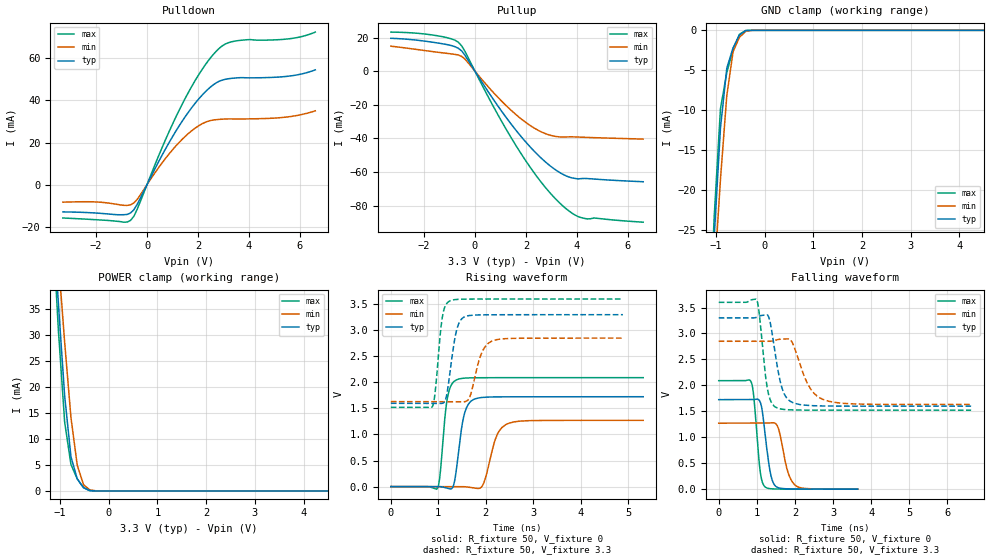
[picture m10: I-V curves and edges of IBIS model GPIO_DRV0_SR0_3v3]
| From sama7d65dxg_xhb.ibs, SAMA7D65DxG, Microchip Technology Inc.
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|   Model   GPIO_DRV0_SR0
[Model] GPIO_DRV0_SR0_3v3
Model_type I/O
Enable   Active-High
Vinl  =  1.08
Vinh  =  2.52
Vmeas =  1.800
| Capacitance   typ   min   max
C_comp   2.365439704312885e-12   2.34132786340745e-12   2.40519177882399e-12
[Model Spec]
| Subparameter   typ   min   max
Vinl   0.99   0.855   1.08
Vinh   2.31   1.995   2.52
Vmeas   1.65   1.425   1.8
| Variables   typ   min   max
[GND Clamp Reference]   0   0   0
[POWER Clamp Reference]   3.3   2.85   3.6
[Pulldown Reference]   0   0   0
[Pullup Reference]   3.3   2.85   3.6
[Temperature Range]   25   125   -40
[Voltage Range]   3.3   2.85   3.6
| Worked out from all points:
|   slope of the pulldown table from 0 to 0.495 V, typ, clamps not added: 41.9 ohm
|   slope of the pullup table from 0 to 0.495 V, typ, clamps not added: 42.4 ohm
|   GND clamp passes 1 mA (typ) near -0.55 V on its own axis
|   POWER clamp passes 1 mA (typ) near -0.55 V on its own axis
|   falling waveform, R_fixture 50, V_fixture 0: 20-80 % time 181ps typ, 232ps min, 141ps max; typ from 1.73 V to 0.001 V
|   falling waveform, R_fixture 50, V_fixture 3.3: 20-80 % time 254ps typ, 425ps min, 185ps max; typ from 3.3 V to 1.6 V
|   rising waveform, R_fixture 50, V_fixture 0: 20-80 % time 162ps typ, 231ps min, 129ps max; typ from 0 V to 1.73 V
|   rising waveform, R_fixture 50, V_fixture 3.3: 20-80 % time 165ps typ, 221ps min, 125ps max; typ from 1.6 V to 3.3 V
[GND Clamp]
| Voltage   I(typ)   I(min)   I(max)
-3.3V     -323.8mA   -277.9mA   -372.9mA
-1.164V   -41.47mA   -44.36mA   -41.44mA
-1.034V   -25.94mA   -31.12mA   -23.44mA
-905.2mV  -12.24mA   -18.67mA   -9.813mA
-775.9mV  -4.764mA   -8.198mA   -5.313mA
-646.6mV  -2.193mA   -2.686mA   -2.377mA
-517.2mV  -609.3uA   -885.9uA   -510.1uA
-387.9mV  -37.09uA   -132.5uA   -13.31uA
-129.3mV  169.8nA    -151.4nA   203.8nA
6.6V      0A         0A         0A
[POWER Clamp]
| Voltage   I(typ)   I(min)   I(max)
-3.3V     410mA      356.5mA    463.7mA
-1.164V   55.93mA    61.45mA    53.4mA
-1.034V   36.24mA    44.69mA    31.11mA
-905.2mV  18.36mA    28.7mA     13.31mA
-775.9mV  6.594mA    14.19mA    5.101mA
-646.6mV  2.317mA    4.963mA    2.328mA
-517.2mV  639.6uA    1.185mA    604.9uA
-387.9mV  64.43uA    205.8uA    31.75uA
-129.3mV  210.5nA    1.029uA    227.8nA
6.6V      0A         0A         0A
[Pulldown]
| Voltage   I(typ)   I(min)   I(max)
-3.3V     -13mA      -8.36mA    -15.89mA
-1.94V    -13.58mA   -8.292mA   -16.75mA
-905.2mV  -14.31mA   -9.871mA   -17.88mA
-646.6mV  -13.48mA   -9.63mA    -17.02mA
-387.9mV  -9.458mA   -7.064mA   -11.79mA
682.8mV   16.04mA    11.78mA    20.17mA
1.479V    31.95mA    22.71mA    40.59mA
2.276V    44mA       29.59mA    56.79mA
2.959V    49.72mA    31.11mA    66.03mA
3.672V    50.86mA    31.18mA    68.61mA
5.286V    51.24mA    31.88mA    69mA
6.6V      54.55mA    35.07mA    72.52mA
[Pullup]
| Voltage   I(typ)   I(min)   I(max)
-3.3V     19.54mA    14.85mA    23.24mA
-1.681V   17.26mA    11.67mA    21.55mA
-1.034V   15.63mA    10.46mA    19.67mA
-646.6mV  13.57mA    9.57mA     17.16mA
-387.9mV  9.384mA    7.11mA     11.66mA
1.024V    -23.37mA   -17.5mA    -29.28mA
1.934V    -41.13mA   -29.84mA   -51.99mA
2.845V    -55.06mA   -37.63mA   -70.67mA
3.672V    -62.93mA   -39.11mA   -83.01mA
4.045V    -64.11mA   -39.21mA   -86.52mA
4.417V    -63.91mA   -39.43mA   -87.93mA
6.6V      -65.8mA    -40.44mA   -89.87mA
[Ramp]
dV/dt_r   1.03526/0.161963n  0.763312/0.23114n  1.25469/0.129464n
dV/dt_f   1.02076/0.254315n  0.731331/0.425272n  1.24698/0.184617n
R_load = 50
[Falling Waveform]
R_fixture = 50
V_fixture = 0
V_fixture_min = 0
V_fixture_max = 0
| Time   V(typ)   V(min)   V(max)
0s        1.725V     1.272V     2.091V
852.7ps   1.726V     1.273V     2.062V
926.4ps   1.728V     1.273V     1.737V
1.089ns   1.678V     1.273V     340mV
1.224ns   1.014V     1.273V     39.7mV
1.373ns   254.7mV    1.279V     8.455mV
1.539ns   35.38mV    1.218V     3.655mV
1.807ns   7.205mV    350.5mV    1.63mV
2.031ns   3.788mV    63.86mV    980.9uV
3.644ns   667.3uV    842.6uV    867.6uV
[Falling Waveform]
R_fixture = 50
V_fixture = 3.3
V_fixture_min = 2.85
V_fixture_max = 3.6
| Time   V(typ)   V(min)   V(max)
0s        3.3V       2.85V      3.6V
991.7ps   3.311V     2.849V     3.655V
1.056ns   3.333V     2.849V     3.431V
1.277ns   3.357V     2.849V     1.935V
1.531ns   2.39V      2.879V     1.565V
1.673ns   1.921V     2.892V     1.54V
1.838ns   1.716V     2.894V     1.53V
2.398ns   1.611V     1.946V     1.523V
2.796ns   1.603V     1.714V     1.523V
6.625ns   1.6V       1.632V     1.522V
[Rising Waveform]
R_fixture = 50
V_fixture = 0
V_fixture_min = 0
V_fixture_max = 0
| Time   V(typ)   V(min)   V(max)
0s        43.02nV    175nV      86.96nV
977.3ps   970.6uV    -41.81uV   -39.95mV
1.034ns   -652.3uV   -44.26uV   199.7mV
1.19ns    -31.64mV   -50.95uV   1.689V
1.377ns   292.8mV    -58.96uV   2.046V
1.542ns   1.366V     -2.027mV   2.081V
1.777ns   1.684V     -31.28mV   2.088V
1.94ns    1.712V     33.17mV    2.09V
2.488ns   1.723V     1.217V     2.09V
5.317ns   1.725V     1.271V     2.091V
[Rising Waveform]
R_fixture = 50
V_fixture = 3.3
V_fixture_min = 2.85
V_fixture_max = 3.6
| Time   V(typ)   V(min)   V(max)
0s        1.599V     1.631V     1.522V
876.7ps   1.598V     1.631V     1.538V
937.4ps   1.598V     1.63V      1.841V
1.081ns   1.598V     1.63V      3.229V
1.244ns   2.174V     1.63V      3.564V
1.396ns   3.037V     1.63V      3.592V
1.579ns   3.267V     1.635V     3.598V
1.911ns   3.296V     2.56V      3.599V
2.128ns   3.298V     2.792V     3.599V
4.889ns   3.299V     2.85V      3.599V
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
